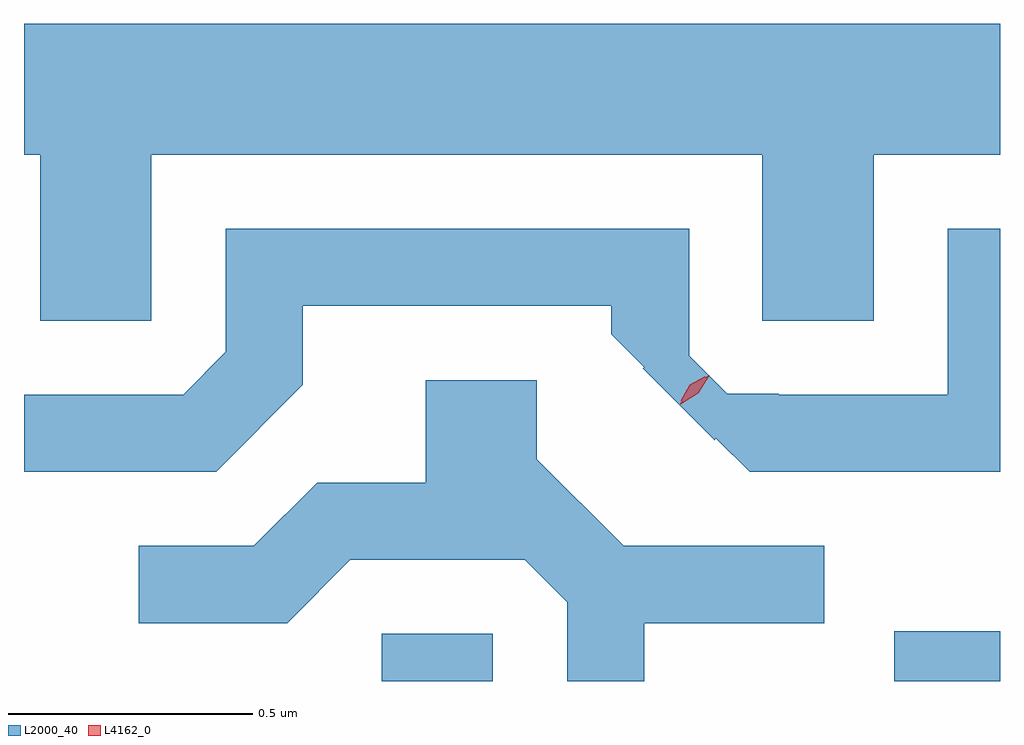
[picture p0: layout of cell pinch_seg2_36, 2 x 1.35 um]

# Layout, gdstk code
import gdstk
lib = gdstk.Library(unit=1e-6, precision=1e-09)
def R(c, l, rs):  # rectangles x0, y0, x1, y1
    for r in rs: c.add(gdstk.rectangle(r[:2], r[2:], *l))
def P(c, l, *ps):  # polygons
    for p in ps: c.add(gdstk.Polygon(p, *l))
L2000_40 = (2000, 40)
L4162_0 = (4162, 0)

pinch_seg2_36 = lib.new_cell('pinch_seg2_36')
R(pinch_seg2_36, L2000_40, [(1675.791,1056.117,1676.019,1056.214), (1676.841,1056.117,1677.058,1056.219)])
P(pinch_seg2_36, L2000_40, [(1675.319,1057.196),(1676.571,1057.196),(1676.571,1056.856),(1676.799,1056.856),(1676.799,1057.196),(1677.058,1057.196),(1677.058,1057.464),(1675.058,1057.464),(1675.058,1057.196),(1675.091,1057.196),(1675.091,1056.856),(1675.319,1056.856)],
  [(1675.629,1056.724),(1675.629,1056.886),(1676.261,1056.886),(1676.261,1056.828),(1676.329,1056.76),(1676.326,1056.758),(1676.473,1056.611),(1676.476,1056.615),(1676.545,1056.546),(1677.058,1056.546),(1677.058,1057.044),(1676.951,1057.044),(1676.951,1056.704),(1676.605,1056.704),(1676.605,1056.706),(1676.499,1056.706),(1676.421,1056.784),(1676.421,1057.044),(1675.471,1057.044),(1675.471,1056.792),(1675.384,1056.704),(1675.058,1056.704),(1675.058,1056.546),(1675.452,1056.546)],
  [(1676.329,1056.236),(1676.698,1056.236),(1676.698,1056.394),(1676.287,1056.394),(1676.109,1056.572),(1676.109,1056.734),(1675.881,1056.734),(1675.881,1056.524),(1675.659,1056.524),(1675.529,1056.394),(1675.293,1056.394),(1675.293,1056.236),(1675.597,1056.236),(1675.727,1056.366),(1676.084,1056.366),(1676.171,1056.279),(1676.171,1056.117),(1676.329,1056.117)])
P(pinch_seg2_36, L4162_0, [(1676.403,1056.684),(1676.403,1056.685),(1676.425,1056.721),(1676.462,1056.744),(1676.462,1056.744),(1676.462,1056.743),(1676.44,1056.707),(1676.404,1056.684)],
  [(1676.404,1056.692),(1676.404,1056.692),(1676.422,1056.724),(1676.454,1056.742),(1676.454,1056.742),(1676.454,1056.741),(1676.436,1056.71),(1676.405,1056.692)])

lib.write_gds('pinch_seg2_36.gds')
